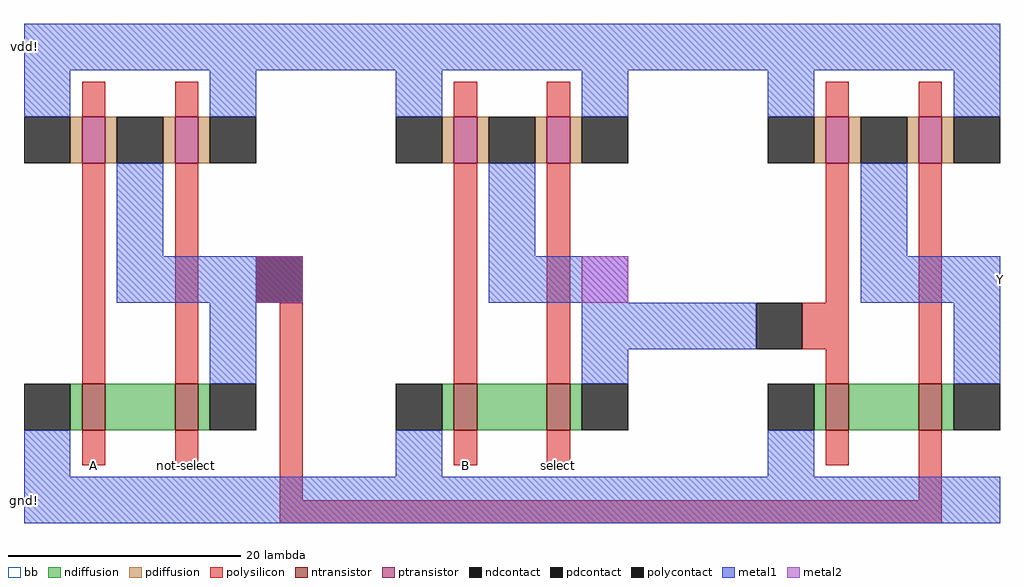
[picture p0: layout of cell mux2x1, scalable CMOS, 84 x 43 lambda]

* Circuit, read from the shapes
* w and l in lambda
.subckt mux2x1 A B Y gnd! not-select select vdd!
M1 n1 A gnd! VSUBS nfet w=4 l=2
M2 n2 not-select n1 VSUBS nfet w=4 l=2
M3 n3 B gnd! VSUBS nfet w=4 l=2
M4 n4 select n3 VSUBS nfet w=4 l=2
M5 n5 n4 gnd! VSUBS nfet w=4 l=2
M6 Y n2 n5 VSUBS nfet w=4 l=2
M7 n2 A vdd! NWELL pfet w=4 l=2
M8 vdd! not-select n2 NWELL pfet w=4 l=2
M9 n4 B vdd! NWELL pfet w=4 l=2
M10 vdd! select n4 NWELL pfet w=4 l=2
M11 Y n4 vdd! NWELL pfet w=4 l=2
M12 vdd! n2 Y NWELL pfet w=4 l=2
.ends

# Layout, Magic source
magic
tech scmos
<< ntransistor >>
rect 5 8 7 12
rect 13 8 15 12
rect 37 8 39 12
rect 45 8 47 12
rect 69 8 71 12
rect 77 8 79 12
<< ptransistor >>
rect 5 31 7 35
rect 13 31 15 35
rect 37 31 39 35
rect 45 31 47 35
rect 69 31 71 35
rect 77 31 79 35
<< ndiffusion >>
rect 4 8 5 12
rect 7 8 13 12
rect 15 8 16 12
rect 36 8 37 12
rect 39 8 45 12
rect 47 8 48 12
rect 68 8 69 12
rect 71 8 77 12
rect 79 8 80 12
<< pdiffusion >>
rect 4 31 5 35
rect 7 31 8 35
rect 12 31 13 35
rect 15 31 16 35
rect 36 31 37 35
rect 39 31 40 35
rect 44 31 45 35
rect 47 31 48 35
rect 68 31 69 35
rect 71 31 72 35
rect 76 31 77 35
rect 79 31 80 35
<< ndcontact >>
rect 0 8 4 12
rect 16 8 20 12
rect 32 8 36 12
rect 48 8 52 12
rect 64 8 68 12
rect 80 8 84 12
<< pdcontact >>
rect 0 31 4 35
rect 8 31 12 35
rect 16 31 20 35
rect 32 31 36 35
rect 40 31 44 35
rect 48 31 52 35
rect 64 31 68 35
rect 72 31 76 35
rect 80 31 84 35
<< polysilicon >>
rect 5 35 7 38
rect 13 35 15 38
rect 37 35 39 38
rect 45 35 47 38
rect 69 35 71 38
rect 77 35 79 38
rect 5 12 7 31
rect 13 12 15 31
rect 5 5 7 8
rect 13 5 15 8
rect 22 2 24 19
rect 37 12 39 31
rect 45 12 47 31
rect 69 19 71 31
rect 67 15 71 19
rect 69 12 71 15
rect 77 12 79 31
rect 37 5 39 8
rect 45 5 47 8
rect 69 5 71 8
rect 77 2 79 8
rect 22 0 79 2
<< polycontact >>
rect 20 19 24 23
rect 63 15 67 19
<< metal1 >>
rect 0 39 84 43
rect 0 35 4 39
rect 16 35 20 39
rect 32 35 36 39
rect 48 35 52 39
rect 64 35 68 39
rect 80 35 84 39
rect 8 23 12 31
rect 40 23 44 31
rect 72 23 76 31
rect 8 19 20 23
rect 40 19 52 23
rect 72 19 84 23
rect 16 12 20 19
rect 48 15 63 19
rect 48 12 52 15
rect 80 12 84 19
rect 0 4 4 8
rect 32 4 36 8
rect 64 4 68 8
rect 0 0 84 4
<< metal2 >>
rect 20 19 24 23
rect 48 19 52 23
<< bb >>
rect 20 19 24 23
<< labels >>
rlabel polysilicon 5 5 7 5 1 A
rlabel metal1 0 0 0 4 2 gnd!
rlabel metal1 0 39 0 43 4 vdd!
rlabel polysilicon 13 5 15 5 1 not-select
rlabel polysilicon 37 5 39 5 1 B
rlabel polysilicon 45 5 47 5 1 select
rlabel metal1 84 19 84 23 7 Y
<< end >>
